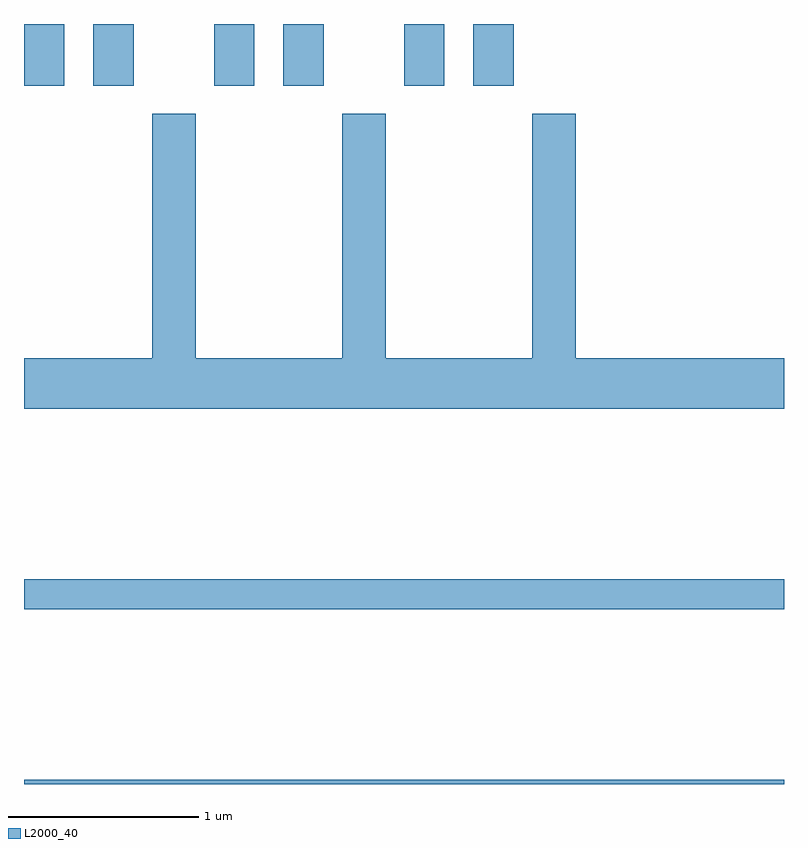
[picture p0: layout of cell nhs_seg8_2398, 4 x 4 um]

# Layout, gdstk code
import gdstk
lib = gdstk.Library(unit=1e-6, precision=1e-09)
def R(c, l, rs):  # rectangles x0, y0, x1, y1
    for r in rs: c.add(gdstk.rectangle(r[:2], r[2:], *l))
def P(c, l, *ps):  # polygons
    for p in ps: c.add(gdstk.Polygon(p, *l))
L2000_40 = (2000, 40)

nhs_seg8_2398 = lib.new_cell('nhs_seg8_2398')
R(nhs_seg8_2398, L2000_40, [(255.611,1934.342,259.611,1934.364), (255.611,1935.261,259.611,1935.419), (255.611,1938.016,255.824,1938.342), (255.976,1938.016,256.189,1938.342), (256.611,1938.016,256.824,1938.342), (256.976,1938.016,257.189,1938.342), (257.611,1938.016,257.824,1938.342), (257.976,1938.016,258.189,1938.342)])
P(nhs_seg8_2398, L2000_40, [(259.611,1936.584),(258.514,1936.584),(258.514,1937.869),(258.286,1937.869),(258.286,1936.584),(257.514,1936.584),(257.514,1937.869),(257.286,1937.869),(257.286,1936.584),(256.514,1936.584),(256.514,1937.869),(256.286,1937.869),(256.286,1936.584),(255.611,1936.584),(255.611,1936.316),(259.611,1936.316)])

lib.write_gds('nhs_seg8_2398.gds')
